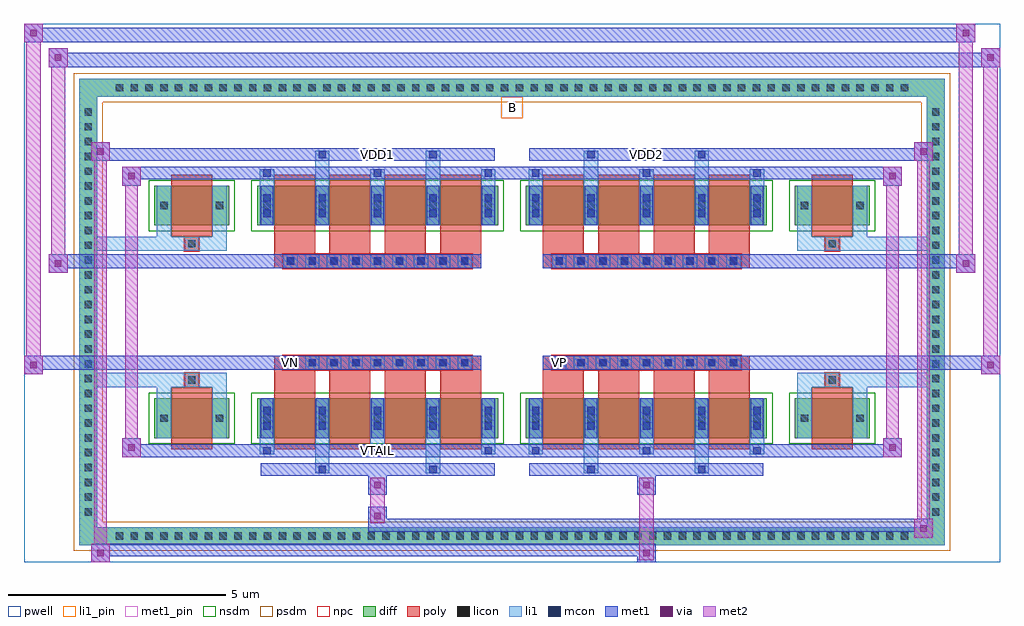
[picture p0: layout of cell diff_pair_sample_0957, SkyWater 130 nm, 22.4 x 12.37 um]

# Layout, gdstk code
import gdstk
lib = gdstk.Library(unit=1e-6, precision=5e-09)
def R(c, l, rs):  # rectangles x0, y0, x1, y1
    for r in rs: c.add(gdstk.rectangle(r[:2], r[2:], *l))
def A(c, l, x, y, w, h, nx, ny, dx, dy):  # array of equal rectangles
    R(c, l, [(x+i*dx, y+j*dy, x+i*dx+w, y+j*dy+h) for i in range(nx) for j in range(ny)])
def P(c, l, *ps):  # polygons
    for p in ps: c.add(gdstk.Polygon(p, *l))
pwell = (64, 44)
diff = (65, 20)
poly = (66, 20)
licon = (66, 44)
li1_pin = (67, 16)
li1 = (67, 20)
mcon = (67, 44)
met1_pin = (68, 16)
met1 = (68, 20)
via = (68, 44)
met2 = (69, 20)
nsdm = (93, 44)
psdm = (94, 20)
npc = (95, 20)

diff_pair_sample_0957 = lib.new_cell('diff_pair_sample_0957')
R(diff_pair_sample_0957, pwell, [(-11.2,-5.75,11.2,6.62), (-8.52,-3.94,-0.01,-0.8), (0.01,-3.94,8.52,-0.8), (-8.52,0.8,-0.01,3.94), (0.01,0.8,8.52,3.94)])
A(diff_pair_sample_0957, diff, -9.215, -5.35, 0.41, 0.41, 54, 2, 0.34, 10.29)
A(diff_pair_sample_0957, diff, -9.93, -4.795, 0.41, 0.41, 1, 28, 0, 0.34)
A(diff_pair_sample_0957, diff, 9.52, -4.795, 0.41, 0.41, 1, 28, 0, 0.34)
R(diff_pair_sample_0957, diff, [(-9.215,-5.35,9.215,-4.94), (-9.93,-4.795,-9.52,4.795), (9.52,-4.795,9.93,4.795), (-8.21,-2.895,-6.49,-1.985), (-5.85,-2.895,-0.32,-1.985), (0.32,-2.895,5.85,-1.985), (6.49,-2.895,8.21,-1.985), (-8.21,1.985,-6.49,2.895), (-5.85,1.985,-0.32,2.895), (0.32,1.985,5.85,2.895), (6.49,1.985,8.21,2.895), (-9.215,4.94,9.215,5.35)])
P(diff_pair_sample_0957, diff, [(9.93,5.35),(-9.93,5.35),(-9.93,-4.94),(-9.52,-4.94),(-9.52,4.94),(9.52,4.94),(9.52,-4.94),(-9.52,-4.94),(-9.93,-4.94),(-9.93,-5.35),(9.93,-5.35)])
A(diff_pair_sample_0957, poly, -5.46, -3.15, 0.94, 1.42, 4, 2, 1.27, 4.88)
A(diff_pair_sample_0957, poly, 0.71, -3.15, 0.94, 1.42, 4, 2, 1.27, 4.88)
A(diff_pair_sample_0957, poly, -5.46, -1.73, 0.94, 0.4, 4, 2, 1.27, 3.06)
A(diff_pair_sample_0957, poly, 0.71, -1.73, 0.94, 0.4, 4, 2, 1.27, 3.06)
A(diff_pair_sample_0957, poly, -5.25, -1.33, 0.33, 0.33, 9, 2, 0.5, 2.33)
A(diff_pair_sample_0957, poly, 0.92, -1.33, 0.33, 0.33, 9, 2, 0.5, 2.33)
R(diff_pair_sample_0957, poly, [(-7.82,-3.15,-6.88,-1.73), (6.88,-3.15,7.82,-1.73), (-7.515,-1.73,-7.185,-1.4), (-7.515,-1.73,-7.185,-1.4), (7.185,-1.73,7.515,-1.4), (7.185,-1.73,7.515,-1.4), (-5.46,-1.33,-0.71,-1), (0.71,-1.33,5.46,-1), (-5.46,1,-0.71,1.33), (0.71,1,5.46,1.33), (-7.515,1.4,-7.185,1.73), (-7.515,1.4,-7.185,1.73), (7.185,1.4,7.515,1.73), (7.185,1.4,7.515,1.73), (-7.82,1.73,-6.88,3.15), (6.88,1.73,7.82,3.15)])
A(diff_pair_sample_0957, licon, -9.095, -5.23, 0.17, 0.17, 54, 2, 0.34, 10.29)
A(diff_pair_sample_0957, licon, -9.81, -4.675, 0.17, 0.17, 1, 28, 0, 0.34)
A(diff_pair_sample_0957, licon, 9.64, -4.675, 0.17, 0.17, 1, 28, 0, 0.34)
A(diff_pair_sample_0957, licon, -5.71, -2.525, 0.17, 0.17, 5, 2, 1.27, 4.88)
A(diff_pair_sample_0957, licon, 0.46, -2.525, 0.17, 0.17, 5, 2, 1.27, 4.88)
A(diff_pair_sample_0957, licon, -5.17, -1.25, 0.17, 0.17, 9, 2, 0.5, 2.33)
A(diff_pair_sample_0957, licon, 1, -1.25, 0.17, 0.17, 9, 2, 0.5, 2.33)
R(diff_pair_sample_0957, licon, [(-8.07,-2.525,-7.9,-2.355), (-6.8,-2.525,-6.63,-2.355), (6.63,-2.525,6.8,-2.355), (7.9,-2.525,8.07,-2.355), (-7.435,-1.65,-7.265,-1.48), (7.265,-1.65,7.435,-1.48), (-7.435,1.48,-7.265,1.65), (7.265,1.48,7.435,1.65), (-8.07,2.355,-7.9,2.525), (-6.8,2.355,-6.63,2.525), (6.63,2.355,6.8,2.525), (7.9,2.355,8.07,2.525)])
R(diff_pair_sample_0957, li1_pin, [(-0.25,4.44,0.25,4.94)])
A(diff_pair_sample_0957, li1, -9.175, -5.31, 0.33, 0.33, 54, 2, 0.34, 10.29)
A(diff_pair_sample_0957, li1, -9.89, -4.755, 0.33, 0.33, 1, 28, 0, 0.34)
A(diff_pair_sample_0957, li1, 9.56, -4.755, 0.33, 0.33, 1, 28, 0, 0.34)
A(diff_pair_sample_0957, li1, -5.79, -3.27, 0.33, 0.375, 3, 2, 2.54, 6.165)
A(diff_pair_sample_0957, li1, -5.71, -3.27, 0.17, 0.17, 3, 2, 2.54, 6.37)
A(diff_pair_sample_0957, li1, 0.38, -3.27, 0.33, 0.375, 3, 2, 2.54, 6.165)
A(diff_pair_sample_0957, li1, 0.46, -3.27, 0.17, 0.17, 3, 2, 2.54, 6.37)
A(diff_pair_sample_0957, li1, -5.79, -2.895, 0.33, 0.91, 5, 2, 1.27, 4.88)
A(diff_pair_sample_0957, li1, 0.38, -2.895, 0.33, 0.91, 5, 2, 1.27, 4.88)
A(diff_pair_sample_0957, li1, -5.71, -2.705, 0.17, 0.17, 5, 2, 1.27, 0.36)
A(diff_pair_sample_0957, li1, -5.71, -2.705, 0.17, 0.53, 5, 2, 1.27, 4.88)
A(diff_pair_sample_0957, li1, 0.46, -2.705, 0.17, 0.17, 5, 2, 1.27, 0.36)
A(diff_pair_sample_0957, li1, 0.46, -2.705, 0.17, 0.53, 5, 2, 1.27, 4.88)
A(diff_pair_sample_0957, li1, -5.79, -2.605, 0.33, 0.33, 5, 2, 1.27, 4.88)
A(diff_pair_sample_0957, li1, 0.38, -2.605, 0.33, 0.33, 5, 2, 1.27, 4.88)
A(diff_pair_sample_0957, li1, -5.25, -1.33, 0.33, 0.33, 9, 2, 0.5, 2.33)
A(diff_pair_sample_0957, li1, 0.92, -1.33, 0.33, 0.33, 9, 2, 0.5, 2.33)
A(diff_pair_sample_0957, li1, -5.71, 2.175, 0.17, 0.17, 5, 2, 1.27, 0.36)
A(diff_pair_sample_0957, li1, 0.46, 2.175, 0.17, 0.17, 5, 2, 1.27, 0.36)
R(diff_pair_sample_0957, li1, [(-9.93,-5.35,-9.52,-4.94), (-9.93,-5.35,-9.52,-4.94), (-9.52,-5.35,9.52,-4.94), (9.52,-5.35,9.93,-4.94), (9.52,-5.35,9.93,-4.94), (-9.93,-4.94,-9.52,4.94), (9.52,-4.94,9.93,4.94), (-4.52,-3.7,-4.19,-2.895), (-4.44,-3.7,-4.27,-3.53), (-1.98,-3.7,-1.65,-2.895), (-1.9,-3.7,-1.73,-3.53), (1.65,-3.7,1.98,-2.895), (1.73,-3.7,1.9,-3.53), (4.19,-3.7,4.52,-2.895), (4.27,-3.7,4.44,-3.53), (-8.15,-2.895,-7.82,-1.985), (-6.88,-2.895,-6.55,-1.985), (6.55,-2.895,6.88,-1.985), (7.82,-2.895,8.15,-1.985), (-8.15,-2.605,-7.82,-2.275), (-6.88,-2.605,-6.55,-2.275), (6.55,-2.605,6.88,-2.275), (7.82,-2.605,8.15,-2.275), (-8.15,-1.985,-7.82,-1.4), (-6.88,-1.985,-6.55,-1.4), (6.55,-1.985,6.88,-1.4), (7.82,-1.985,8.15,-1.4), (-9.93,-1.73,-7.515,-1.4), (-8.15,-1.73,-7.515,-1.4), (-7.515,-1.73,-7.185,-1.4), (-7.185,-1.73,-6.55,-1.4), (6.55,-1.73,7.185,-1.4), (7.185,-1.73,7.515,-1.4), (7.185,-1.73,9.93,-1.4), (7.515,-1.73,8.15,-1.4), (-9.93,1.4,-7.515,1.73), (-8.15,1.4,-7.515,1.73), (-8.15,1.4,-7.82,1.985), (-7.515,1.4,-7.185,1.73), (-7.185,1.4,-6.55,1.73), (-6.88,1.4,-6.55,1.985), (6.55,1.4,7.185,1.73), (6.55,1.4,6.88,1.985), (7.185,1.4,7.515,1.73), (7.185,1.4,9.93,1.73), (7.515,1.4,8.15,1.73), (7.82,1.4,8.15,1.985), (-8.15,1.985,-7.82,2.895), (-6.88,1.985,-6.55,2.895), (6.55,1.985,6.88,2.895), (7.82,1.985,8.15,2.895), (-8.15,2.275,-7.82,2.605), (-6.88,2.275,-6.55,2.605), (6.55,2.275,6.88,2.605), (7.82,2.275,8.15,2.605), (-4.52,2.895,-4.19,3.7), (-1.98,2.895,-1.65,3.7), (1.65,2.895,1.98,3.7), (4.19,2.895,4.52,3.7), (-4.44,3.53,-4.27,3.7), (-1.9,3.53,-1.73,3.7), (1.73,3.53,1.9,3.7), (4.27,3.53,4.44,3.7), (-9.93,4.94,-9.52,5.35), (-9.93,4.94,-9.52,5.35), (-9.52,4.94,9.52,5.35), (9.52,4.94,9.93,5.35), (9.52,4.94,9.93,5.35)])
A(diff_pair_sample_0957, mcon, -5.71, -3.27, 0.17, 0.17, 3, 2, 2.54, 6.37)
A(diff_pair_sample_0957, mcon, 0.46, -3.27, 0.17, 0.17, 3, 2, 2.54, 6.37)
A(diff_pair_sample_0957, mcon, -5.71, -2.705, 0.17, 0.17, 5, 2, 1.27, 0.36)
A(diff_pair_sample_0957, mcon, 0.46, -2.705, 0.17, 0.17, 5, 2, 1.27, 0.36)
A(diff_pair_sample_0957, mcon, -5.17, -1.25, 0.17, 0.17, 9, 2, 0.5, 2.33)
A(diff_pair_sample_0957, mcon, 1, -1.25, 0.17, 0.17, 9, 2, 0.5, 2.33)
A(diff_pair_sample_0957, mcon, -5.71, 2.175, 0.17, 0.17, 5, 2, 1.27, 0.36)
A(diff_pair_sample_0957, mcon, 0.46, 2.175, 0.17, 0.17, 5, 2, 1.27, 0.36)
R(diff_pair_sample_0957, mcon, [(-4.44,-3.7,-4.27,-3.53), (-1.9,-3.7,-1.73,-3.53), (1.73,-3.7,1.9,-3.53), (4.27,-3.7,4.44,-3.53), (-4.44,3.53,-4.27,3.7), (-1.9,3.53,-1.73,3.7), (1.73,3.53,1.9,3.7), (4.27,3.53,4.44,3.7)])
R(diff_pair_sample_0957, met1_pin, [(-3.22,-3.31,-2.95,-3.04), (-5.22,-1.29,-4.95,-1.02), (0.95,-1.29,1.22,-1.02), (-3.22,3.49,-2.95,3.76), (2.95,3.49,3.22,3.76)])
A(diff_pair_sample_0957, met1, -5.77, -3.33, 0.29, 0.29, 3, 2, 2.54, 6.37)
A(diff_pair_sample_0957, met1, 0.4, -3.33, 0.29, 0.29, 3, 2, 2.54, 6.37)
A(diff_pair_sample_0957, met1, -5.77, -2.895, 0.29, 0.91, 5, 2, 1.27, 4.88)
A(diff_pair_sample_0957, met1, 0.4, -2.895, 0.29, 0.91, 5, 2, 1.27, 4.88)
A(diff_pair_sample_0957, met1, -5.77, -2.765, 0.29, 0.29, 5, 2, 1.27, 0.36)
A(diff_pair_sample_0957, met1, 0.4, -2.765, 0.29, 0.29, 5, 2, 1.27, 0.36)
A(diff_pair_sample_0957, met1, -5.23, -1.31, 0.29, 0.29, 9, 2, 0.5, 2.33)
A(diff_pair_sample_0957, met1, 0.94, -1.31, 0.29, 0.29, 9, 2, 0.5, 2.33)
A(diff_pair_sample_0957, met1, -5.77, 2.115, 0.29, 0.29, 5, 2, 1.27, 0.36)
A(diff_pair_sample_0957, met1, 0.4, 2.115, 0.29, 0.29, 5, 2, 1.27, 0.36)
R(diff_pair_sample_0957, met1, [(-9.66,-5.75,-9.23,-5.32), (2.87,-5.75,3.3,-5.32), (-9.66,-5.61,3.3,-5.32), (9.23,-5.18,9.66,-4.75), (-3.3,-5.04,9.66,-4.75), (-3.3,-4.9,-2.87,-4.47), (-3.3,-4.19,-2.87,-3.76), (2.87,-4.19,3.3,-3.76), (-5.77,-3.76,-0.4,-3.47), (-4.5,-3.76,-4.21,-3.47), (-1.96,-3.76,-1.67,-3.47), (0.4,-3.76,5.77,-3.47), (1.67,-3.76,1.96,-3.47), (4.21,-3.76,4.5,-3.47), (-8.95,-3.33,-8.52,-2.9), (-8.95,-3.33,-5.77,-3.04), (-5.77,-3.33,-0.4,-3.04), (-0.4,-3.33,0.4,-3.04), (0.4,-3.33,5.77,-3.04), (5.77,-3.33,8.95,-3.04), (8.52,-3.33,8.95,-2.9), (-11.2,-1.43,-10.77,-1), (10.77,-1.43,11.2,-1), (-11.2,-1.33,-0.71,-1), (-5.46,-1.33,-0.71,-1), (0.71,-1.33,5.46,-1), (0.71,-1.33,11.2,-1), (-10.63,0.9,-10.2,1.33), (10.2,0.9,10.63,1.33), (-10.63,1,-5.46,1.33), (-5.46,1,-0.71,1.33), (0.71,1,5.46,1.33), (5.46,1,10.63,1.33), (-8.95,2.9,-8.52,3.33), (8.52,2.9,8.95,3.33), (-8.95,3.04,-5.77,3.33), (-5.77,3.04,-0.4,3.33), (-0.4,3.04,0.4,3.33), (0.4,3.04,5.77,3.33), (5.77,3.04,8.95,3.33), (-9.66,3.47,-9.23,3.9), (-9.66,3.47,-5.77,3.76), (-5.77,3.47,-0.4,3.76), (-4.5,3.47,-4.21,3.76), (-1.96,3.47,-1.67,3.76), (0.4,3.47,5.77,3.76), (1.67,3.47,1.96,3.76), (4.21,3.47,4.5,3.76), (5.77,3.47,9.66,3.76), (9.23,3.47,9.66,3.9), (-10.63,5.62,-10.2,6.05), (-10.63,5.62,-8.52,5.95), (-8.52,5.62,8.52,5.95), (8.52,5.62,11.2,5.95), (10.77,5.62,11.2,6.05), (-11.2,6.19,-10.77,6.62), (-11.2,6.19,-8.52,6.52), (-8.52,6.19,8.52,6.52), (8.52,6.19,10.63,6.52), (10.2,6.19,10.63,6.62)])
R(diff_pair_sample_0957, via, [(-9.52,-5.61,-9.37,-5.46), (3.01,-5.61,3.16,-5.46), (9.37,-5.04,9.52,-4.89), (-3.16,-4.76,-3.01,-4.61), (-3.16,-4.05,-3.01,-3.9), (3.01,-4.05,3.16,-3.9), (-8.81,-3.19,-8.66,-3.04), (8.66,-3.19,8.81,-3.04), (-11.06,-1.29,-10.91,-1.14), (10.91,-1.29,11.06,-1.14), (-10.49,1.04,-10.34,1.19), (10.34,1.04,10.49,1.19), (-8.81,3.04,-8.66,3.19), (8.66,3.04,8.81,3.19), (-9.52,3.61,-9.37,3.76), (9.37,3.61,9.52,3.76), (-10.49,5.76,-10.34,5.91), (10.91,5.76,11.06,5.91), (-11.06,6.33,-10.91,6.48), (10.34,6.33,10.49,6.48)])
R(diff_pair_sample_0957, met2, [(-9.66,-5.75,-9.23,-5.32), (-9.59,-5.75,-9.3,3.9), (-9.3,-5.75,-9.23,-5.32), (-9.61,-5.7,-9.28,-5.37), (2.92,-5.7,3.25,-5.37), (2.92,-5.37,3.25,-4.14), (9.23,-5.18,9.66,-4.75), (9.3,-5.18,9.59,3.9), (9.59,-5.18,9.66,-4.75), (9.28,-5.13,9.61,-4.8), (-3.25,-4.85,-2.92,-4.52), (-3.25,-4.52,-2.92,-4.14), (-3.25,-4.14,-2.92,-3.81), (2.92,-4.14,3.25,-3.81), (-8.95,-3.33,-8.52,-2.9), (-8.88,-3.33,-8.59,3.33), (-8.59,-3.33,-8.52,-2.9), (8.52,-3.33,8.95,-2.9), (8.59,-3.33,8.88,3.33), (8.88,-3.33,8.95,-2.9), (-8.9,-3.28,-8.57,-2.95), (8.57,-3.28,8.9,-2.95), (-11.2,-1.43,-10.77,-1), (-11.15,-1.43,-10.82,6.62), (-10.82,-1.43,-10.77,-1), (10.77,-1.43,11.2,-1), (10.82,-1.43,11.15,6.05), (11.15,-1.43,11.2,-1), (-11.15,-1.38,-10.82,-1.05), (10.82,-1.38,11.15,-1.05), (-10.63,0.9,-10.2,1.33), (-10.58,0.9,-10.25,6.05), (-10.25,0.9,-10.2,1.33), (10.2,0.9,10.63,1.33), (10.25,0.9,10.58,6.62), (10.58,0.9,10.63,1.33), (-10.58,0.95,-10.25,1.28), (10.25,0.95,10.58,1.28), (-8.95,2.9,-8.52,3.33), (-8.59,2.9,-8.52,3.33), (8.52,2.9,8.95,3.33), (8.88,2.9,8.95,3.33), (-8.9,2.95,-8.57,3.28), (8.57,2.95,8.9,3.28), (-9.66,3.47,-9.23,3.9), (-9.3,3.47,-9.23,3.9), (9.23,3.47,9.66,3.9), (9.59,3.47,9.66,3.9), (-9.61,3.52,-9.28,3.85), (9.28,3.52,9.61,3.85), (-10.63,5.62,-10.2,6.05), (-10.25,5.62,-10.2,6.05), (10.77,5.62,11.2,6.05), (11.15,5.62,11.2,6.05), (-10.58,5.67,-10.25,6), (10.82,5.67,11.15,6), (-11.2,6.19,-10.77,6.62), (-10.82,6.19,-10.77,6.62), (10.2,6.19,10.63,6.62), (10.58,6.19,10.63,6.62), (-11.15,6.24,-10.82,6.57), (10.25,6.24,10.58,6.57)])
R(diff_pair_sample_0957, nsdm, [(-8.34,-3.025,-6.36,-1.855), (-5.98,-3.025,-0.19,-1.855), (0.19,-3.025,5.98,-1.855), (6.36,-3.025,8.34,-1.855), (-8.34,1.855,-6.36,3.025), (-5.98,1.855,-0.19,3.025), (0.19,1.855,5.98,3.025), (6.36,1.855,8.34,3.025)])
P(diff_pair_sample_0957, psdm, [(10.06,5.48),(-10.06,5.48),(-10.06,-4.81),(-9.39,-4.81),(-9.39,4.81),(9.39,4.81),(9.39,-4.81),(-9.39,-4.81),(-10.06,-4.81),(-10.06,-5.48),(10.06,-5.48)])
A(diff_pair_sample_0957, npc, -5.27, -1.35, 0.37, 0.37, 9, 2, 0.5, 2.33)
A(diff_pair_sample_0957, npc, 0.9, -1.35, 0.37, 0.37, 9, 2, 0.5, 2.33)
R(diff_pair_sample_0957, npc, [(-7.535,-1.75,-7.165,-1.38), (7.165,-1.75,7.535,-1.38), (-5.27,-1.35,-4.4,-0.98), (-5.27,-1.35,-4.4,-0.98), (-4.77,-1.35,-3.9,-0.98), (-4.77,-1.35,-3.9,-0.98), (-4.27,-1.35,-3.4,-0.98), (-4.27,-1.35,-3.4,-0.98), (-3.77,-1.35,-2.9,-0.98), (-3.77,-1.35,-2.9,-0.98), (-3.27,-1.35,-2.4,-0.98), (-3.27,-1.35,-2.4,-0.98), (-2.77,-1.35,-1.9,-0.98), (-2.77,-1.35,-1.9,-0.98), (-2.27,-1.35,-1.4,-0.98), (-2.27,-1.35,-1.4,-0.98), (-1.77,-1.35,-0.9,-0.98), (-1.77,-1.35,-0.9,-0.98), (0.9,-1.35,1.77,-0.98), (0.9,-1.35,1.77,-0.98), (1.4,-1.35,2.27,-0.98), (1.4,-1.35,2.27,-0.98), (1.9,-1.35,2.77,-0.98), (1.9,-1.35,2.77,-0.98), (2.4,-1.35,3.27,-0.98), (2.4,-1.35,3.27,-0.98), (2.9,-1.35,3.77,-0.98), (2.9,-1.35,3.77,-0.98), (3.4,-1.35,4.27,-0.98), (3.4,-1.35,4.27,-0.98), (3.9,-1.35,4.77,-0.98), (3.9,-1.35,4.77,-0.98), (4.4,-1.35,5.27,-0.98), (4.4,-1.35,5.27,-0.98), (-5.27,0.98,-4.4,1.35), (-5.27,0.98,-4.4,1.35), (-4.77,0.98,-3.9,1.35), (-4.77,0.98,-3.9,1.35), (-4.27,0.98,-3.4,1.35), (-4.27,0.98,-3.4,1.35), (-3.77,0.98,-2.9,1.35), (-3.77,0.98,-2.9,1.35), (-3.27,0.98,-2.4,1.35), (-3.27,0.98,-2.4,1.35), (-2.77,0.98,-1.9,1.35), (-2.77,0.98,-1.9,1.35), (-2.27,0.98,-1.4,1.35), (-2.27,0.98,-1.4,1.35), (-1.77,0.98,-0.9,1.35), (-1.77,0.98,-0.9,1.35), (0.9,0.98,1.77,1.35), (0.9,0.98,1.77,1.35), (1.4,0.98,2.27,1.35), (1.4,0.98,2.27,1.35), (1.9,0.98,2.77,1.35), (1.9,0.98,2.77,1.35), (2.4,0.98,3.27,1.35), (2.4,0.98,3.27,1.35), (2.9,0.98,3.77,1.35), (2.9,0.98,3.77,1.35), (3.4,0.98,4.27,1.35), (3.4,0.98,4.27,1.35), (3.9,0.98,4.77,1.35), (3.9,0.98,4.77,1.35), (4.4,0.98,5.27,1.35), (4.4,0.98,5.27,1.35), (-7.535,1.38,-7.165,1.75), (7.165,1.38,7.535,1.75)])
diff_pair_sample_0957.add(gdstk.Label('VTAIL', (-3.085,-3.175), layer=68, texttype=5))
diff_pair_sample_0957.add(gdstk.Label('VN', (-5.085,-1.155), layer=68, texttype=5))
diff_pair_sample_0957.add(gdstk.Label('VP', (1.085,-1.155), layer=68, texttype=5))
diff_pair_sample_0957.add(gdstk.Label('B', (0,4.69), layer=67, texttype=5))
diff_pair_sample_0957.add(gdstk.Label('VDD2', (3.085,3.625), layer=68, texttype=5))
diff_pair_sample_0957.add(gdstk.Label('VDD1', (-3.085,3.625), layer=68, texttype=5))

lib.write_gds('diff_pair_sample_0957.gds')
